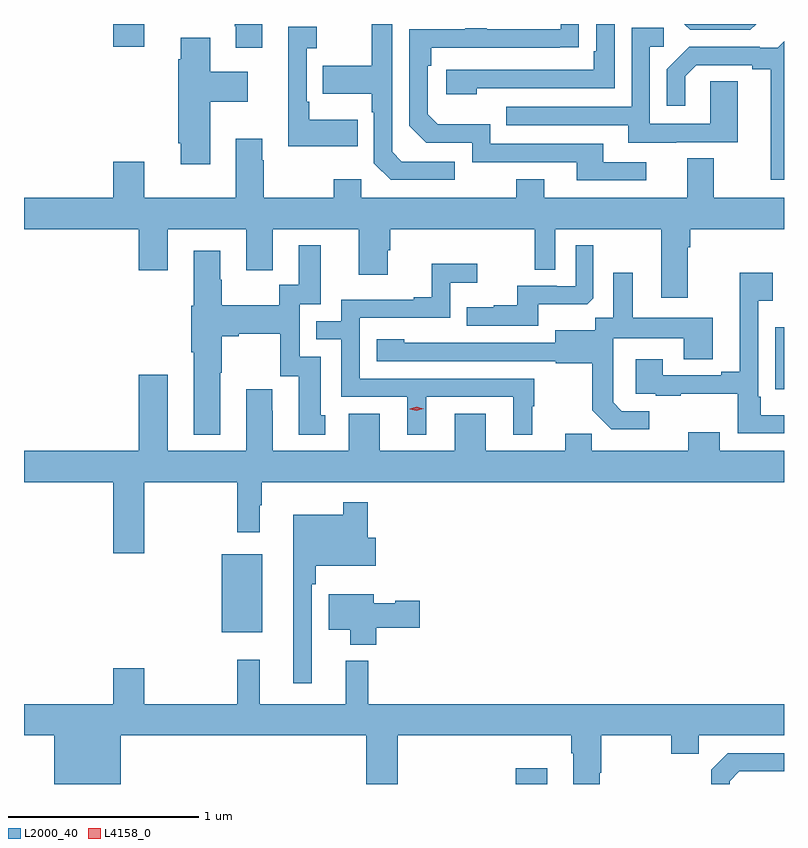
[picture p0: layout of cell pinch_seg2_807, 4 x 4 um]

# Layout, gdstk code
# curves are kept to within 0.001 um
import gdstk
lib = gdstk.Library(unit=1e-6, precision=1e-09)
def R(c, l, rs):  # rectangles x0, y0, x1, y1
    for r in rs: c.add(gdstk.rectangle(r[:2], r[2:], *l))
def P(c, l, *ps):  # polygons
    for p in ps: c.add(gdstk.Polygon(p, *l))
L2000_40 = (2000, 40)
L4158_0 = (4158, 0)

pinch_seg2_807 = lib.new_cell('pinch_seg2_807')
R(pinch_seg2_807, L2000_40, [(682.61,595.431,682.777,595.513), (681.062,596.231,681.277,596.641), (683.976,597.509,684.022,597.835), (680.492,599.31,680.656,599.431)])
P(pinch_seg2_807, L2000_40, [(681.277,599.431),(681.13,599.431),(681.13,599.419),(681.137,599.419),(681.137,599.307),(681.277,599.307)],
  [(682.288,598.707),(682.011,598.707),(681.96,598.758),(681.96,599.431),(681.852,599.431),(681.852,599.211),(681.595,599.211),(681.595,599.063),(681.852,599.063),(681.852,598.967),(681.864,598.967),(681.864,598.698),(681.951,598.611),(682.288,598.611)],
  [(683.296,598.704),(683.071,598.704),(683.071,598.8),(682.476,598.8),(682.476,598.903),(682.199,598.903),(682.146,598.956),(682.146,599.21),(682.166,599.21),(682.166,599.307),(682.943,599.308),(682.943,599.431),(682.847,599.431),(682.847,599.403),(682.457,599.403),(682.457,599.408),(682.345,599.408),(682.345,599.403),(682.05,599.403),(682.05,598.896),(682.14,598.806),(682.38,598.806),(682.38,598.704),(682.931,598.704),(682.931,598.608),(683.296,598.608)],
  [(682.406,599.094),(683.13,599.094),(683.13,599.431),(683.034,599.431),(683.034,599.287),(683.021,599.287),(683.021,599.19),(682.245,599.19),(682.245,599.06),(682.406,599.06)],
  [(683.875,599.431),(683.498,599.431),(683.529,599.4),(683.844,599.4)],
  [(681.779,598.927),(681.523,598.927),(681.523,599.023),(681.51,599.023),(681.51,599.303),(681.562,599.303),(681.562,599.416),(681.413,599.416),(681.413,598.787),(681.779,598.787)],
  [(683.455,598.809),(683.779,598.809),(683.779,599.129),(683.634,599.129),(683.634,598.905),(683.316,598.905),(683.316,599.31),(683.389,599.31),(683.389,599.411),(683.22,599.411),(683.22,598.995),(682.561,598.995),(682.561,598.899),(683.201,598.899),(683.201,598.805),(683.455,598.805)],
  [(681.001,599.021),(681.199,599.021),(681.199,599.179),(681.001,599.179),(681.001,599.359),(680.846,599.359),(680.846,599.246),(680.834,599.246),(680.834,598.804),(680.846,598.804),(680.846,598.692),(681.001,598.692)],
  [(684.022,599.341),(683.988,599.307),(683.894,599.307),(683.894,599.31),(683.522,599.31),(683.406,599.194),(683.406,599.001),(683.503,599.001),(683.503,599.157),(683.56,599.214),(683.855,599.214),(683.855,599.192),(683.951,599.192),(683.951,598.611),(684.022,598.611)],
  [(683.515,598.256),(683.528,598.256),(683.528,598.352),(684.022,598.352),(684.022,598.516),(683.653,598.516),(683.653,598.724),(683.513,598.724),(683.513,598.516),(682.759,598.516),(682.759,598.615),(682.612,598.615),(682.612,598.516),(681.798,598.516),(681.798,598.615),(681.652,598.615),(681.652,598.516),(681.285,598.516),(681.285,598.715),(681.277,598.715),(681.277,598.828),(681.137,598.828),(681.137,598.516),(680.656,598.516),(680.656,598.705),(680.492,598.705),(680.492,598.516),(680.022,598.516),(680.022,598.352),(680.627,598.352),(680.627,598.134),(680.779,598.134),(680.779,598.352),(681.191,598.352),(681.191,598.134),(681.331,598.134),(681.331,598.352),(681.785,598.352),(681.785,598.11),(681.937,598.11),(681.937,598.239),(681.95,598.239),(681.95,598.352),(682.71,598.352),(682.71,598.138),(682.818,598.138),(682.818,598.352),(683.375,598.352),(683.375,597.99),(683.515,597.99)],
  [(682.729,597.956),(682.987,597.956),(683.019,597.987),(683.019,598.267),(682.926,598.267),(682.926,598.05),(682.826,598.05),(682.826,598.053),(682.619,598.053),(682.619,597.952),(682.495,597.952),(682.495,597.94),(682.351,597.94),(682.351,597.843),(682.729,597.843)],
  [(681.055,597.595),(681.063,597.595),(681.063,597.788),(681.151,597.788),(681.151,597.8),(681.371,597.8),(681.371,597.576),(681.467,597.576),(681.467,597.27),(681.607,597.27),(681.607,597.372),(681.583,597.372),(681.583,597.681),(681.474,597.681),(681.474,597.957),(681.583,597.957),(681.583,598.267),(681.467,598.267),(681.467,598.058),(681.366,598.058),(681.366,597.952),(681.063,597.952),(681.063,598.086),(681.055,598.086),(681.055,598.237),(680.915,598.237),(680.915,597.948),(680.903,597.948),(680.903,597.704),(680.915,597.704),(680.915,597.269),(681.055,597.269)],
  [(682.138,597.468),(682.598,597.468),(682.598,597.269),(682.696,597.269),(682.696,597.42),(682.708,597.42),(682.708,597.564),(681.789,597.564),(681.789,597.885),(682.266,597.885),(682.266,598.07),(682.408,598.07),(682.408,598.169),(682.168,598.169),(682.168,597.994),(682.073,597.994),(682.073,597.981),(681.693,597.981),(681.693,597.867),(681.559,597.867),(681.559,597.771),(681.693,597.771),(681.693,597.468),(682.04,597.468),(682.04,597.269),(682.138,597.269)],
  [(683.314,597.393),(683.169,597.393),(683.122,597.44),(683.122,597.535),(683.124,597.535),(683.124,597.776),(683.495,597.776),(683.495,597.667),(683.647,597.667),(683.647,597.886),(683.227,597.886),(683.227,598.123),(683.123,598.123),(683.123,597.884),(683.028,597.884),(683.028,597.82),(682.817,597.82),(682.817,597.753),(682.023,597.754),(682.023,597.772),(681.879,597.772),(681.879,597.657),(682.821,597.657),(682.821,597.645),(683.013,597.645),(683.013,597.399),(683.113,597.299),(683.314,597.299)],
  [(684.022,597.373),(683.899,597.373),(683.899,597.469),(683.886,597.469),(683.886,597.974),(683.962,597.974),(683.962,598.123),(683.789,598.123),(683.789,597.601),(683.693,597.601),(683.693,597.582),(683.383,597.582),(683.383,597.667),(683.243,597.667),(683.243,597.486),(683.347,597.486),(683.347,597.474),(683.479,597.474),(683.479,597.485),(683.778,597.485),(683.778,597.276),(684.022,597.276)],
  [(680.656,597.02),(681.145,597.02),(681.145,596.757),(681.262,596.757),(681.262,596.897),(681.274,596.897),(681.274,597.02),(684.022,597.02),(684.022,597.184),(683.683,597.184),(683.683,597.283),(683.519,597.283),(683.519,597.184),(683.009,597.184),(683.009,597.275),(682.871,597.275),(682.871,597.184),(682.453,597.184),(682.453,597.379),(682.289,597.379),(682.289,597.184),(681.895,597.184),(681.895,597.379),(681.731,597.379),(681.731,597.184),(681.331,597.184),(681.331,597.395),(681.328,597.395),(681.328,597.508),(681.191,597.508),(681.191,597.184),(680.779,597.184),(680.779,597.586),(680.627,597.586),(680.627,597.184),(680.022,597.184),(680.022,597.02),(680.492,597.02),(680.492,596.646),(680.656,596.646)],
  [(681.537,596.483),(681.557,596.483),(681.557,596.579),(681.874,596.579),(681.874,596.727),(681.83,596.727),(681.83,596.914),(681.702,596.914),(681.702,596.848),(681.44,596.848),(681.44,595.962),(681.537,595.962)],
  [(681.875,596.254),(682.105,596.254),(682.105,596.396),(681.975,596.396),(681.975,596.383),(681.862,596.383),(681.862,596.431),(681.626,596.431),(681.626,596.243),(681.74,596.243),(681.74,596.165),(681.875,596.165)],
  [(680.53,595.688),(681.824,595.688),(681.824,595.431),(681.988,595.431),(681.988,595.688),(682.901,595.688),(682.901,595.592),(682.913,595.592),(682.913,595.431),(683.053,595.431),(683.053,595.489),(683.061,595.489),(683.061,595.688),(683.428,595.688),(683.428,595.589),(683.574,595.589),(683.574,595.688),(684.022,595.688),(684.022,595.852),(681.833,595.852),(681.833,596.08),(681.716,596.08),(681.716,595.852),(681.263,595.852),(681.263,596.086),(681.145,596.086),(681.145,595.852),(680.656,595.852),(680.656,596.041),(680.492,596.041),(680.492,595.852),(680.022,595.852),(680.022,595.688),(680.18,595.688),(680.18,595.431),(680.53,595.431)],
  [(683.736,595.446),(683.787,595.497),(684.022,595.497),(684.022,595.593),(683.727,595.593),(683.64,595.506),(683.64,595.431),(683.736,595.431)])
P(pinch_seg2_807, L4158_0, [(682.089,597.396),(682.053,597.404),(682.053,597.404),(682.053,597.405),(682.089,597.416),(682.124,597.407),(682.125,597.407),(682.124,597.407)])

lib.write_gds('pinch_seg2_807.gds')
